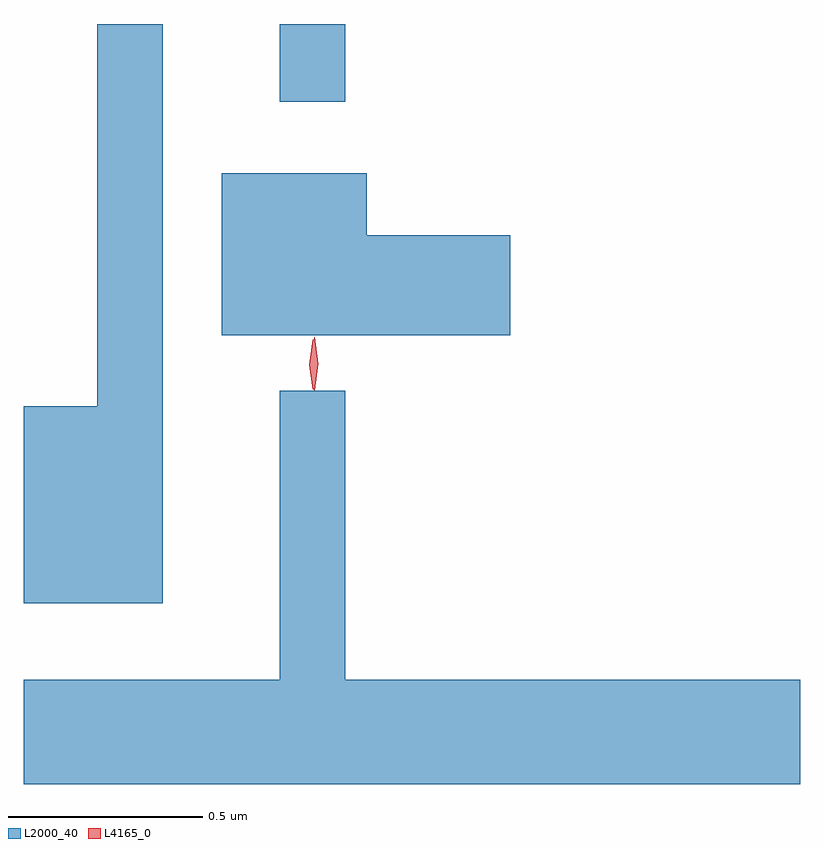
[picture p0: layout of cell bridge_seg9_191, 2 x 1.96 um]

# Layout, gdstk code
import gdstk
lib = gdstk.Library(unit=1e-6, precision=1e-09)
def R(c, l, rs):  # rectangles x0, y0, x1, y1
    for r in rs: c.add(gdstk.rectangle(r[:2], r[2:], *l))
def P(c, l, *ps):  # polygons
    for p in ps: c.add(gdstk.Polygon(p, *l))
L2000_40 = (2000, 40)
L4165_0 = (4165, 0)

bridge_seg9_191 = lib.new_cell('bridge_seg9_191')
R(bridge_seg9_191, L2000_40, [(1104.751,2075.713,1104.919,2075.913)])
P(bridge_seg9_191, L2000_40, [(1104.449,2075.913),(1104.281,2075.913),(1104.281,2074.929),(1104.091,2074.929),(1104.091,2074.421),(1104.449,2074.421)],
  [(1105.344,2075.369),(1104.974,2075.369),(1104.974,2075.529),(1104.601,2075.529),(1104.601,2075.111),(1105.344,2075.111)],
  [(1106.091,2074.224),(1104.919,2074.224),(1104.919,2074.968),(1104.751,2074.968),(1104.751,2074.224),(1104.091,2074.224),(1104.091,2073.956),(1106.091,2073.956)])
P(bridge_seg9_191, L4165_0, [(1104.839,2074.97),(1104.839,2074.97),(1104.829,2075.038),(1104.839,2075.106),(1104.839,2075.106),(1104.84,2075.106),(1104.849,2075.038),(1104.84,2074.97)],
  [(1104.836,2074.973),(1104.827,2075.036),(1104.836,2075.1),(1104.837,2075.1),(1104.838,2075.1),(1104.847,2075.036),(1104.838,2074.973),(1104.837,2074.973)])

lib.write_gds('bridge_seg9_191.gds')
